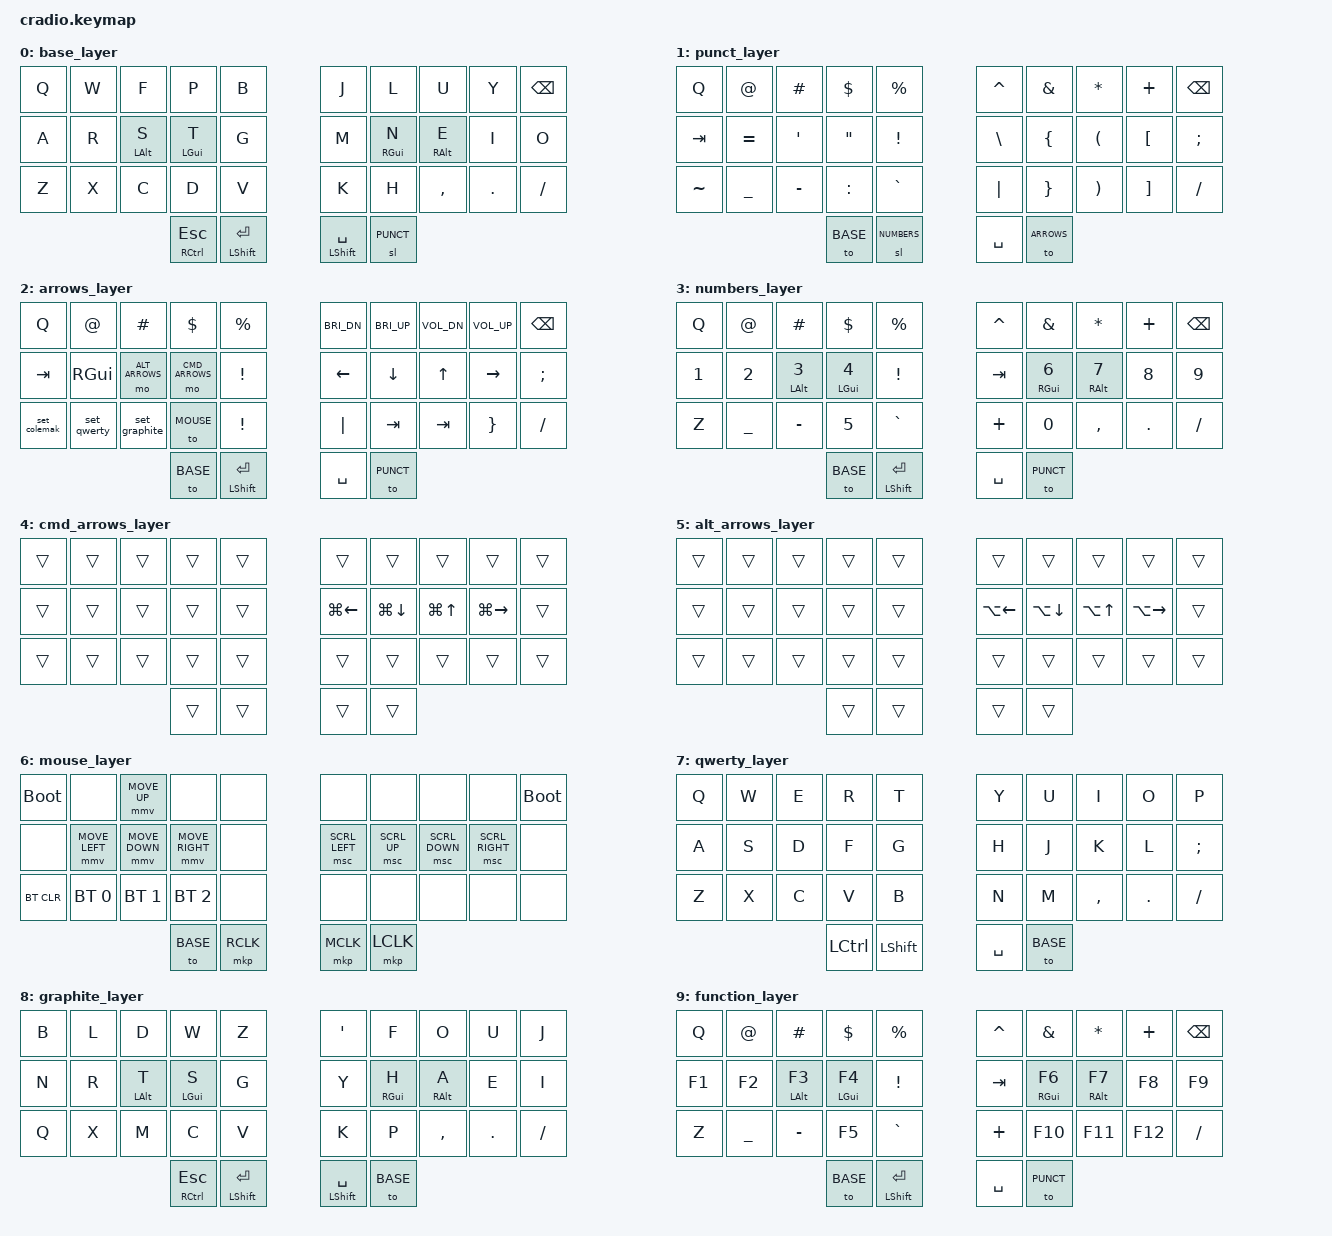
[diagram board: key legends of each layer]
#include <behaviors.dtsi>
#include <dt-bindings/zmk/keys.h>
#include <dt-bindings/zmk/bt.h>
#include <dt-bindings/zmk/mouse.h>
#include <dt-bindings/zmk/outputs.h>

// Layer definitions
#define BASE 0
#define PUNCT 1
#define ARROWS 2
#define NUMBERS 3
#define CMD_ARROWS 4
#define ALT_ARROWS 5
#define MOUSE 6
#define QWERTY 7
#define GRAPHITE 8
#define FUNCTION 9

// Default base layer - change this to switch layouts
#define DEFAULT_LAYER BASE  // Options: BASE (Colemak), QWERTY, GRAPHITE

/ {
    // Mod-tap and layer-tap behaviors
    behaviors {
        set_colemak: set_colemak {
            compatible = "zmk,behavior-macro";
            #binding-cells = <0>;
            bindings = <&to BASE>;
        };
        
        set_graphite: set_graphite {
            compatible = "zmk,behavior-macro";
            #binding-cells = <0>;
            bindings = <&to GRAPHITE>;
        };
        
        set_qwerty: set_qwerty {
            compatible = "zmk,behavior-macro";
            #binding-cells = <0>;
            bindings = <&to QWERTY>;
        };
        
        to_base: to_base {
            compatible = "zmk,behavior-macro";
            #binding-cells = <0>;
            bindings = <&to BASE>;
        };
        
        to_graphite: to_graphite {
            compatible = "zmk,behavior-macro";
            #binding-cells = <0>;
            bindings = <&to GRAPHITE>;
        };
        
        to_qwerty: to_qwerty {
            compatible = "zmk,behavior-macro";
            #binding-cells = <0>;
            bindings = <&to QWERTY>;
        };
        
        sl: sticky_layer {
            compatible = "zmk,behavior-sticky-key";
            #binding-cells = <1>;
            bindings = <&mo>;
            release-after-ms = <2000>;
            ignore-modifiers;
        };
        
        hm_l: homerow_mods_left {
            compatible = "zmk,behavior-hold-tap";
            label = "HOMEROW_MODS_LEFT";
            #binding-cells = <2>;
            tapping-term-ms = <200>;
            quick-tap-ms = <125>;
            flavor = "tap-preferred";
            bindings = <&kp>, <&kp>;
            require-prior-idle-ms = <150>;
            hold-trigger-key-positions = <5 6 7 8 9 15 16 17 18 19 25 26 27 28 29 32 33>; // right hand + right thumb
        };
        
        hm_r: homerow_mods_right {
            compatible = "zmk,behavior-hold-tap";
            label = "HOMEROW_MODS_RIGHT";
            #binding-cells = <2>;
            tapping-term-ms = <200>;
            quick-tap-ms = <125>;
            flavor = "tap-preferred";
            bindings = <&kp>, <&kp>;
            require-prior-idle-ms = <150>;
            hold-trigger-key-positions = <0 1 2 3 4 10 11 12 13 14 20 21 22 23 24 30 31>; // left hand + left thumb
        };
        
        mt_esc: mod_tap_escape {
            compatible = "zmk,behavior-hold-tap";
            label = "MOD_TAP_ESC";
            #binding-cells = <2>;
            tapping-term-ms = <200>;
            quick-tap-ms = <0>;
            flavor = "tap-preferred";
            bindings = <&kp>, <&kp>;
        };
        
        mt_ent: mod_tap_enter {
            compatible = "zmk,behavior-hold-tap";
            label = "MOD_TAP_ENTER";
            #binding-cells = <2>;
            tapping-term-ms = <200>;
            quick-tap-ms = <0>;
            flavor = "tap-preferred";
            bindings = <&kp>, <&kp>;
        };
        
        mt_spc: mod_tap_space {
            compatible = "zmk,behavior-hold-tap";
            label = "MOD_TAP_SPACE";
            #binding-cells = <2>;
            tapping-term-ms = <200>;
            quick-tap-ms = <125>;
            flavor = "hold-preferred";
            bindings = <&kp>, <&kp>;
        };
    };

    // Combos can be added here if needed
    combos {
        compatible = "zmk,combos";
        
        // Function layer combo - outer thumbs
        combo_function {
            bindings = <&mo FUNCTION>;
            key-positions = <30 33>; // left outer + right outer thumbs
            timeout-ms = <50>;
        };
    };

    keymap {
        compatible = "zmk,keymap";

        // BASE Layer (Colemak with home row mods)
        base_layer {
            bindings = <
                &kp Q       &kp W       &kp F       &kp P        &kp B             &kp J       &kp L        &kp U        &kp Y       &kp BSPC
                &kp A       &kp R       &hm_l LALT S  &hm_l LGUI T   &kp G             &kp M       &hm_r RGUI N   &hm_r RALT E   &kp I       &kp O
                &kp Z       &kp X       &kp C       &kp D        &kp V             &kp K       &kp H        &kp COMMA    &kp DOT     &kp FSLH
                                        &mt_esc RCTRL ESC  &mt_ent LSHFT RET       &mt_spc LSHFT SPACE &sl PUNCT
            >;
        };

        // PUNCTUATION Layer
        punct_layer {
            bindings = <
                &kp Q       &kp AT      &kp HASH    &kp DLLR     &kp PRCNT         &kp CARET   &kp AMPS     &kp ASTRK    &kp PLUS    &kp BSPC
                &kp TAB     &kp EQUAL   &kp APOS    &kp DQT      &kp EXCL          &kp BSLH    &kp LBRC     &kp LPAR     &kp LBKT    &kp SEMI
                &kp TILDE   &kp UNDER   &kp MINUS   &kp COLON    &kp GRAVE         &kp PIPE    &kp RBRC     &kp RPAR     &kp RBKT    &kp FSLH
                                        &to DEFAULT_LAYER    &sl NUMBERS                   &kp SPACE   &to ARROWS
            >;
        };

        // ARROWS Layer (Navigation)
        arrows_layer {
            bindings = <
                &kp Q       &kp AT      &kp HASH    &kp DLLR     &kp PRCNT         &kp C_BRI_DN &kp C_BRI_UP &kp C_VOL_DN &kp C_VOL_UP &kp BSPC
                &kp TAB     &kp RGUI    &mo ALT_ARROWS &mo CMD_ARROWS &kp EXCL     &kp LEFT    &kp DOWN     &kp UP       &kp RIGHT   &kp SEMI
                &set_colemak &set_qwerty &set_graphite &to MOUSE  &kp EXCL         &kp PIPE    &kp TAB      &kp TAB      &kp RBRC    &kp FSLH
                                        &to DEFAULT_LAYER    &mt_ent LSHFT RET              &kp SPACE   &to PUNCT
            >;
        };

        // NUMBERS Layer
        numbers_layer {
            bindings = <
                &kp Q       &kp AT      &kp HASH    &kp DLLR     &kp PRCNT         &kp CARET   &kp AMPS     &kp ASTRK    &kp PLUS    &kp BSPC
                &kp N1      &kp N2      &hm_l LALT N3 &hm_l LGUI N4  &kp EXCL          &kp TAB     &hm_r RGUI N6  &hm_r RALT N7  &kp N8      &kp N9
                &kp Z       &kp UNDER   &kp MINUS   &kp N5       &kp GRAVE         &kp PLUS    &kp N0       &kp COMMA    &kp DOT     &kp FSLH
                                        &to DEFAULT_LAYER    &mt_ent LSHFT RET              &kp SPACE   &to PUNCT
            >;
        };

        // CMD_ARROWS Layer (GUI modified arrows)
        cmd_arrows_layer {
            bindings = <
                &trans      &trans      &trans      &trans       &trans            &trans      &trans       &trans       &trans      &trans
                &trans      &trans      &trans      &trans       &trans            &kp LG(LEFT) &kp LG(DOWN) &kp LG(UP)   &kp LG(RIGHT) &trans
                &trans      &trans      &trans      &trans       &trans            &trans      &trans       &trans       &trans      &trans
                                        &trans      &trans                         &trans      &trans
            >;
        };

        // ALT_ARROWS Layer (Alt modified arrows)
        alt_arrows_layer {
            bindings = <
                &trans      &trans      &trans      &trans       &trans            &trans      &trans       &trans       &trans      &trans
                &trans      &trans      &trans      &trans       &trans            &kp LA(LEFT) &kp LA(DOWN) &kp LA(UP)   &kp LA(RIGHT) &trans
                &trans      &trans      &trans      &trans       &trans            &trans      &trans       &trans       &trans      &trans
                                        &trans      &trans                         &trans      &trans
            >;
        };

        // MOUSE Layer
        mouse_layer {
            bindings = <
                &bootloader &none       &mmv MOVE_UP &none       &none             &none       &none        &none        &none       &bootloader
                &none       &mmv MOVE_LEFT &mmv MOVE_DOWN &mmv MOVE_RIGHT &none   &msc SCRL_LEFT &msc SCRL_UP &msc SCRL_DOWN &msc SCRL_RIGHT &none
                &bt BT_CLR  &bt BT_SEL 0 &bt BT_SEL 1 &bt BT_SEL 2 &none         &none       &none        &none        &none       &none
                                        &to DEFAULT_LAYER    &mkp RCLK                      &mkp MCLK   &mkp LCLK
            >;
        };

        // QWERTY Layer
        qwerty_layer {
            bindings = <
                &kp Q       &kp W       &kp E       &kp R        &kp T             &kp Y       &kp U        &kp I        &kp O       &kp P
                &kp A       &kp S       &kp D       &kp F        &kp G             &kp H       &kp J        &kp K        &kp L       &kp SEMI
                &kp Z       &kp X       &kp C       &kp V        &kp B             &kp N       &kp M        &kp COMMA    &kp DOT     &kp FSLH
                                        &kp LCTRL   &kp LSHFT                      &kp SPACE   &to DEFAULT_LAYER
            >;
        };

        // GRAPHITE Layer
        graphite_layer {
            bindings = <
                &kp B       &kp L       &kp D       &kp W        &kp Z             &kp APOS    &kp F        &kp O        &kp U       &kp J
                &kp N       &kp R       &hm_l LALT T  &hm_l LGUI S   &kp G             &kp Y       &hm_r RGUI H   &hm_r RALT A   &kp E       &kp I
                &kp Q       &kp X       &kp M       &kp C        &kp V             &kp K       &kp P        &kp COMMA    &kp DOT     &kp FSLH
                                        &mt_esc RCTRL ESC  &mt_ent LSHFT RET       &mt_spc LSHFT SPACE &to DEFAULT_LAYER
            >;
        };

        // FUNCTION Layer
        function_layer {
            bindings = <
                &kp Q       &kp AT      &kp HASH    &kp DLLR     &kp PRCNT         &kp CARET   &kp AMPS     &kp ASTRK    &kp PLUS    &kp BSPC
                &kp F1      &kp F2      &hm_l LALT F3 &hm_l LGUI F4  &kp EXCL          &kp TAB     &hm_r RGUI F6  &hm_r RALT F7  &kp F8      &kp F9
                &kp Z       &kp UNDER   &kp MINUS   &kp F5       &kp GRAVE         &kp PLUS    &kp F10      &kp F11      &kp F12     &kp FSLH
                                        &to DEFAULT_LAYER    &mt_ent LSHFT RET              &kp SPACE   &to PUNCT
            >;
        };
    };
};
